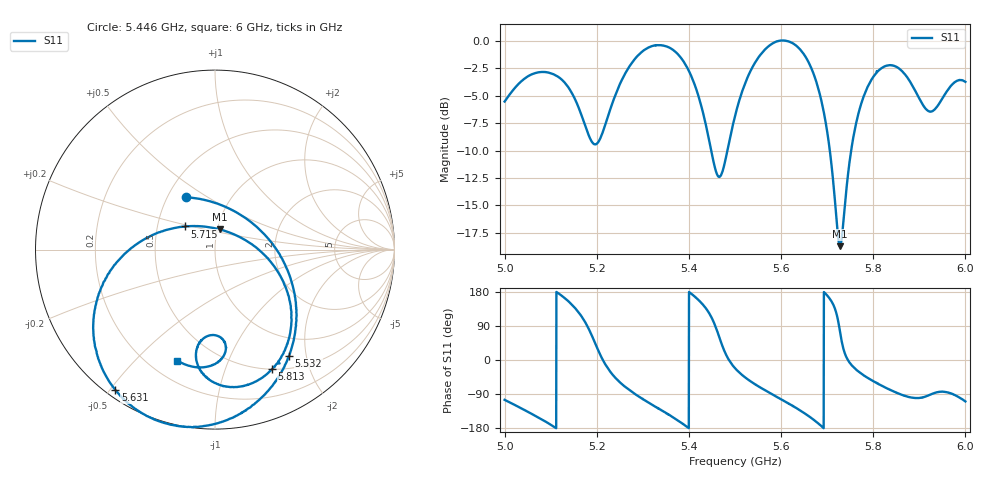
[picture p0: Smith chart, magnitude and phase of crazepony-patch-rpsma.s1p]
# HZ S RI R 50
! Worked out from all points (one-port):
!   2020 points, 5 GHz to 6 GHz, reference 50 ohm
!   lowest |S11| = -18.7 dB at 5.728 GHz (marker M1), VSWR 1.26, Z = 51.3 + j11.7 ohm
!   |S11| at or under -10 dB: 5.448 GHz to 5.483 GHz (35.13 MHz wide, 0.643 % of centre); 5.706 GHz to 5.752 GHz (46.34 MHz wide, 0.809 % of centre)
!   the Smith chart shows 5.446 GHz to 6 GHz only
!   S11 on the Smith chart (normalised r, x): 5.446 GHz: 0.62, +0.41; 5.532 GHz: 0.69, -1.70; 5.631 GHz: 0.03, -0.52; 5.715 GHz: 0.69, +0.19; 5.813 GHz: 0.50, -1.46; 6 GHz: 0.31, -0.67
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5e9  -0.1382 -0.5111
5.055968e9  -0.539 -0.4467
5.12531e9  -0.649 0.135
5.156513e9  -0.3488 0.388
5.179792e9  0.00867 0.3839
5.214958e9  0.3937 -0.0255
5.250124e9  0.3288 -0.5434
5.309064e9  -0.3172 -0.8712
5.375434e9  -0.8161 -0.3118
5.407132e9  -0.6708 0.0838
5.446261e9  -0.1595 0.2914
5.468549e9  0.1528 0.1874
5.500248e9  0.4235 -0.1705
5.532442e9  0.4118 -0.592
5.580981e9  -0.0122 -0.9741
5.625062e9  -0.5082 -0.8352
5.631006e9  -0.5546 -0.783
5.672115e9  -0.6483 -0.2472
5.714711e9  -0.1658 0.1291
5.727588e9  0.026 0.1126
5.750372e9  0.2948 -0.048
5.779594e9  0.4262 -0.365
5.813274e9  0.3173 -0.6671
5.875186e9  -0.0834 -0.6706
5.918277e9  -0.0355 -0.4796
5.954433e9  0.0592 -0.5632
5.999505e9  -0.21 -0.6179
6.000001e9  -0.2156 -0.6146
